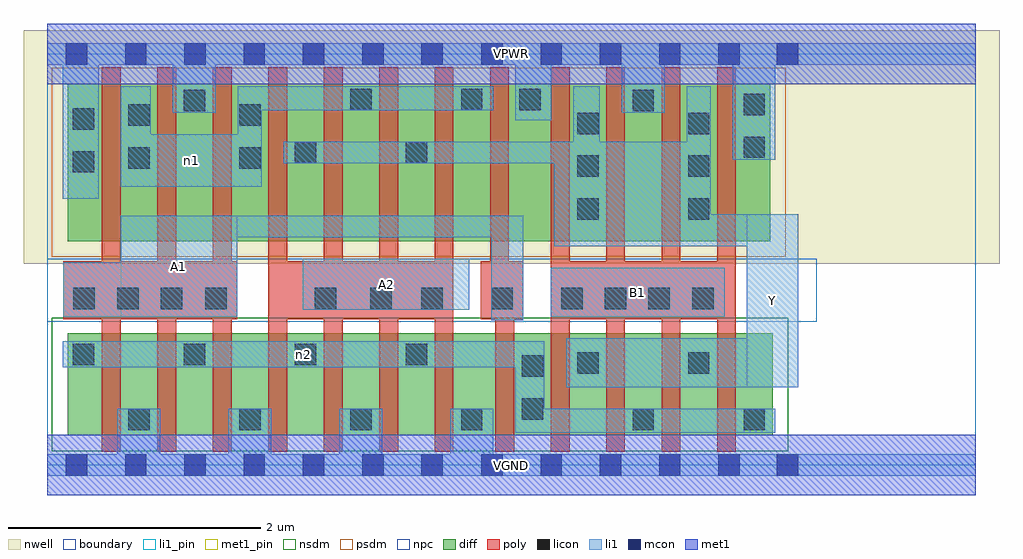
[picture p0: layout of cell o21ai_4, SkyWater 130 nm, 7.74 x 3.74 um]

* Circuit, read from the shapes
.subckt o21ai_4 A1 A2 B1 VGND VPWR Y n1 n2
XM1 VGND A1 n2 VSUBS sky130_fd_pr__nfet_01v8 w=0.81 l=0.15 m=4
XM2 n2 A2 VGND VSUBS sky130_fd_pr__nfet_01v8 w=0.81 l=0.15 m=4
XM3 Y B1 n2 VSUBS sky130_fd_pr__nfet_01v8 w=0.81 l=0.15 m=4
XM4 n1 A1 VPWR n3 sky130_fd_pr__pfet_01v8 w=1.25 l=0.15 m=4
XM5 Y A2 n1 n3 sky130_fd_pr__pfet_01v8 w=1.25 l=0.15 m=4
XM6 Y B1 VPWR n3 sky130_fd_pr__pfet_01v8 w=1.25 l=0.15 m=4
.ends

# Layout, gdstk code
import gdstk
lib = gdstk.Library(unit=1e-6, precision=1e-09)
def R(c, l, rs):  # rectangles x0, y0, x1, y1
    for r in rs: c.add(gdstk.rectangle(r[:2], r[2:], *l))
def A(c, l, x, y, w, h, nx, ny, dx, dy):  # array of equal rectangles
    R(c, l, [(x+i*dx, y+j*dy, x+i*dx+w, y+j*dy+h) for i in range(nx) for j in range(ny)])
nwell = (64, 20)
diff = (65, 20)
poly = (66, 20)
licon = (66, 44)
li1_pin = (67, 16)
li1 = (67, 20)
mcon = (67, 44)
met1_pin = (68, 16)
met1 = (68, 20)
nsdm = (93, 44)
psdm = (94, 20)
npc = (95, 20)
boundary = (235, 4)

o21ai_4 = lib.new_cell('o21ai_4')
R(o21ai_4, nwell, [(-0.19,1.595,7.55,3.45), (0,1.595,7.36,3.45)])
R(o21ai_4, diff, [(0.16,0.235,5.75,1.045), (0.16,1.775,5.73,3.025)])
A(o21ai_4, poly, 0.43, 0.105, 0.15, 3.05, 7, 1, 0.44, 0)
A(o21ai_4, poly, 3.99, 0.105, 0.15, 3.05, 4, 1, 0.44, 0)
R(o21ai_4, poly, [(3.55,0.105,3.7,1.615), (0.125,1.155,1.505,1.615), (1.75,1.155,3.22,1.615), (3.435,1.155,3.775,1.615), (3.51,1.155,3.66,3.155), (3.99,1.155,5.46,1.615)])
A(o21ai_4, licon, 0.64, 0.275, 0.17, 0.17, 4, 1, 0.88, 0)
A(o21ai_4, licon, 0.2, 0.79, 0.17, 0.17, 4, 1, 0.88, 0)
A(o21ai_4, licon, 2.965, 1.235, 0.17, 0.17, 3, 1, 0.555, 0)
A(o21ai_4, licon, 4.2, 1.945, 0.17, 0.17, 1, 3, 0, 0.34)
A(o21ai_4, licon, 5.08, 1.945, 0.17, 0.17, 1, 3, 0, 0.34)
R(o21ai_4, licon, [(4.64,0.275,4.81,0.445), (5.52,0.275,5.69,0.445), (3.76,0.36,3.93,0.53), (3.76,0.7,3.93,0.87), (4.2,0.725,4.37,0.895), (5.08,0.725,5.25,0.895), (0.205,1.235,0.375,1.405), (0.555,1.235,0.725,1.405), (0.9,1.235,1.07,1.405), (1.25,1.235,1.42,1.405), (2.12,1.235,2.29,1.405), (2.56,1.235,2.73,1.405), (4.42,1.235,4.59,1.405), (4.765,1.235,4.935,1.405), (5.115,1.235,5.285,1.405), (0.2,2.32,0.37,2.49), (0.64,2.35,0.81,2.52), (1.52,2.35,1.69,2.52), (1.96,2.395,2.13,2.565), (2.84,2.395,3.01,2.565), (5.52,2.435,5.69,2.605), (0.2,2.66,0.37,2.83), (0.64,2.69,0.81,2.86), (1.52,2.69,1.69,2.86), (5.52,2.775,5.69,2.945), (1.08,2.805,1.25,2.975), (4.64,2.805,4.81,2.975), (2.4,2.815,2.57,2.985), (3.28,2.815,3.45,2.985), (3.74,2.815,3.91,2.985)])
R(o21ai_4, li1_pin, [(5.545,0.615,5.955,1.99), (0.58,1.175,1.505,1.975), (3.99,1.175,5.37,1.565), (2.025,1.23,3.345,1.635)])
A(o21ai_4, li1, 0.555, -0.085, 0.34, 0.53, 4, 1, 0.88, 0)
R(o21ai_4, li1, [(0,-0.085,7.36,0.085), (3.71,0.255,5.77,0.445), (3.71,0.255,3.94,0.98), (4.115,0.615,5.955,1.005), (5.545,0.615,5.955,1.99), (0.12,0.775,3.94,0.98), (3.52,1.15,3.775,1.975), (0.125,1.175,1.505,1.61), (0.58,1.175,1.505,1.975), (3.99,1.175,5.37,1.565), (2.025,1.23,3.345,1.635), (4.02,1.735,5.955,1.99), (4.02,1.735,5.26,2.395), (4.17,1.735,5.07,2.375), (4.17,1.735,4.38,3.005), (5.07,1.735,5.26,3.005), (0.58,1.805,3.775,1.975), (0.12,2.11,0.405,3.345), (0.58,2.205,1.7,2.625), (0.58,2.205,0.82,3.005), (1.51,2.205,1.7,3.005), (1.875,2.395,5.26,2.565), (5.435,2.42,5.77,3.345), (3.71,2.735,3.995,3.345), (0.995,2.795,1.335,3.345), (4.555,2.795,4.895,3.345), (1.51,2.815,3.535,3.005), (0,3.175,7.36,3.345)])
A(o21ai_4, mcon, 0.145, -0.085, 0.17, 0.17, 7, 2, 0.47, 3.26)
A(o21ai_4, mcon, 3.44, -0.085, 0.17, 0.17, 5, 2, 0.47, 3.26)
R(o21ai_4, mcon, [(5.785,-0.085,5.955,0.085), (5.785,3.175,5.955,3.345)])
R(o21ai_4, met1_pin, [(0,-0.24,7.36,0.24), (0,3.02,7.36,3.5)])
R(o21ai_4, met1, [(0,-0.24,7.36,0.24), (0,3.02,7.36,3.5)])
R(o21ai_4, nsdm, [(0.035,0.11,5.875,1.17)])
R(o21ai_4, psdm, [(0.035,1.65,5.855,3.15)])
R(o21ai_4, npc, [(0,1.135,6.1,1.635)])
R(o21ai_4, boundary, [(0,0,7.36,3.26)])
o21ai_4.add(gdstk.Label('A1', (1.042,1.575), layer=67, texttype=5))
o21ai_4.add(gdstk.Label('A2', (2.685,1.432), layer=67, texttype=5))
o21ai_4.add(gdstk.Label('B1', (4.68,1.37), layer=67, texttype=5))
o21ai_4.add(gdstk.Label('Y', (5.75,1.302), layer=67, texttype=5))
o21ai_4.add(gdstk.Label('n2', (2.03,0.877), layer=67, texttype=5))
o21ai_4.add(gdstk.Label('n1', (1.14,2.415), layer=67, texttype=5))
o21ai_4.add(gdstk.Label('VPWR', (3.68,3.26), layer=68, texttype=5))
o21ai_4.add(gdstk.Label('VGND', (3.68,0), layer=68, texttype=5))
o21ai_4.add(gdstk.Label('A1', (1.042,1.575), layer=67, texttype=16))
o21ai_4.add(gdstk.Label('A2', (2.685,1.432), layer=67, texttype=16))
o21ai_4.add(gdstk.Label('B1', (4.68,1.37), layer=67, texttype=16))
o21ai_4.add(gdstk.Label('Y', (5.75,1.302), layer=67, texttype=16))
o21ai_4.add(gdstk.Label('VPWR', (3.68,3.26), layer=68, texttype=16))
o21ai_4.add(gdstk.Label('VGND', (3.68,0), layer=68, texttype=16))

lib.write_gds('o21ai_4.gds')
